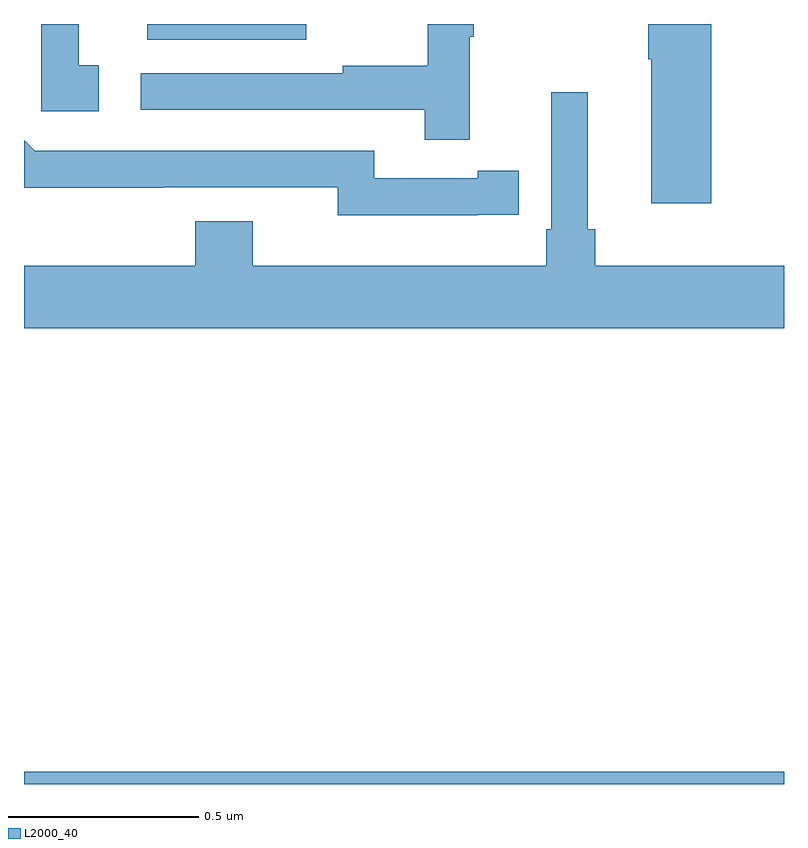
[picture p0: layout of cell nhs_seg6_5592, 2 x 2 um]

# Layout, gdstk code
import gdstk
lib = gdstk.Library(unit=1e-6, precision=1e-09)
def R(c, l, rs):  # rectangles x0, y0, x1, y1
    for r in rs: c.add(gdstk.rectangle(r[:2], r[2:], *l))
def P(c, l, *ps):  # polygons
    for p in ps: c.add(gdstk.Polygon(p, *l))
L2000_40 = (2000, 40)

nhs_seg6_5592 = lib.new_cell('nhs_seg6_5592')
R(nhs_seg6_5592, L2000_40, [(185,915.5,187,915.532), (185.324,917.459,185.743,917.5)])
P(nhs_seg6_5592, L2000_40, [(186.173,917.467),(186.184,917.467),(186.184,917.5),(186.063,917.5),(186.063,917.39),(185.839,917.39),(185.839,917.37),(185.307,917.37),(185.307,917.274),(186.055,917.274),(186.055,917.196),(186.173,917.196)],
  [(186.809,917.5),(186.643,917.5),(186.643,917.407),(186.65,917.407),(186.65,917.028),(186.809,917.028)],
  [(185.197,917.391),(185.144,917.391),(185.144,917.5),(185.046,917.5),(185.046,917.271),(185.197,917.271)],
  [(187,916.864),(186.503,916.864),(186.503,916.96),(186.484,916.96),(186.484,917.32),(186.387,917.32),(186.387,916.96),(186.374,916.96),(186.374,916.864),(185.602,916.864),(185.602,916.981),(185.45,916.981),(185.45,916.864),(185,916.864),(185,916.7),(187,916.7)],
  [(186.194,916.998),(186.302,916.998),(186.302,917.114),(186.194,917.114),(186.194,917.094),(185.922,917.094),(185.922,917.166),(185.028,917.166),(185,917.194),(185,917.069),(185.366,917.069),(185.366,917.07),(185.826,917.07),(185.826,916.997),(186.194,916.997)])

lib.write_gds('nhs_seg6_5592.gds')
